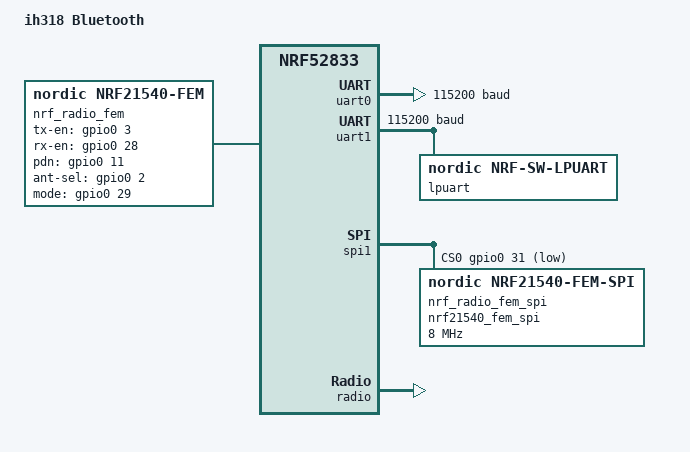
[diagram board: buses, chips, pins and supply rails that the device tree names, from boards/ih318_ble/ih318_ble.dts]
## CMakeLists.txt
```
#
# Copyright (c) 2018 Nordic Semiconductor
#
# SPDX-License-Identifier: LicenseRef-Nordic-5-Clause
#
cmake_minimum_required(VERSION 3.20.0)

find_package(Zephyr REQUIRED HINTS $ENV{ZEPHYR_BASE})
project(ih318_nrf52833)

# NORDIC SDK APP START
target_sources(app PRIVATE
  src/main.c
  src/shell_custom.c
)
target_include_directories(app PRIVATE include)
# NORDIC SDK APP END
```

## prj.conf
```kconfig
#
# Copyright (c) 2018 Nordic Semiconductor
#
# SPDX-License-Identifier: LicenseRef-Nordic-5-Clause
#
CONFIG_NCS_SAMPLES_DEFAULTS=y
CONFIG_HEAP_MEM_POOL_SIZE=2048

CONFIG_BT=y
CONFIG_BT_SMP=y
CONFIG_BT_PERIPHERAL=y
CONFIG_BT_DEVICE_NAME="ihlu ih318"

# CONFIG_BT_DEVICE_APPEARANCE=833
CONFIG_BT_MAX_CONN=2
CONFIG_BT_MAX_PAIRED=2

# Enable the BT NUS shell
CONFIG_SHELL_BT_NUS=y
CONFIG_SHELL=y
CONFIG_SHELL_BACKEND_DUMMY=y


# Serial and console configuration
CONFIG_SERIAL=y
CONFIG_CONSOLE=y
CONFIG_UART_CONSOLE=y

# SEGGER RTT Treiber und RTT-Konsole aktivieren
# CONFIG_USE_SEGGER_RTT=y
# CONFIG_RTT_CONSOLE=y

# Optional: Zephyr Logger-System ebenfalls auf RTT umleiten
# CONFIG_LOG=y
# CONFIG_LOG_BACKEND_RTT=y
CONFIG_MPSL=y
CONFIG_MPSL_FEM=y
CONFIG_MPSL_FEM_NRF21540_GPIO_SPI=y
CONFIG_MPSL_FEM_POWER_MODEL=y
CONFIG_POWEROFF=y

# UART interrupt driver
CONFIG_NRF_SW_LPUART=y

# Uncomment to use lpuart using interrupt driven API
CONFIG_NRF_SW_LPUART_INT_DRIVEN=y

CONFIG_UART_1_ASYNC=y
CONFIG_UART_1_INTERRUPT_DRIVEN=n
CONFIG_UART_1_NRF_HW_ASYNC=y
CONFIG_UART_1_NRF_HW_ASYNC_TIMER=2
CONFIG_UART_1_NRF_ASYNC_LOW_POWER=y

CONFIG_NRF_SW_LPUART_INIT_PRIORITY=55

# Maximum Bluetooth LE ATT MTU
CONFIG_BT_L2CAP_TX_MTU=517
CONFIG_BT_BUF_ACL_TX_SIZE=251
CONFIG_BT_BUF_ACL_RX_SIZE=251
CONFIG_BT_USER_DATA_LEN_UPDATE=y

# 1. Nutze den internen RC statt dem externen Quarz
CONFIG_CLOCK_CONTROL_NRF_K32SRC_RC=y

# 2. Zwingend erforderlich: Kalibrierung für den RC-Takt einschalten
CONFIG_CLOCK_CONTROL_NRF_K32SRC_RC_CALIBRATION=y

# 3. Dem BLE-Stack die 500 ppm Genauigkeit des RC-Oszillators mitteilen (vergrößert RX-Fenster für Verbindungen)
CONFIG_CLOCK_CONTROL_NRF_K32SRC_500PPM=y
CONFIG_BT_CTLR_SDC_MAX_CONN_EVENT_LEN_DEFAULT=0

# Apple iOS konforme Connection Parameter
# CONFIG_BT_GAP_PERIPHERAL_PREF_PARAMS=y
# CONFIG_BT_GAP_AUTO_UPDATE_CONN_PARAMS=y

# Min Interval: 15 ms (12 * 1.25ms) - Apple verlangt min >= 15ms
# CONFIG_BT_PERIPHERAL_PREF_MIN_INT=12
# Max Interval: 30 ms (24 * 1.25ms) - Apple verlangt max >= min + 15ms
# CONFIG_BT_PERIPHERAL_PREF_MAX_INT=24
# CONFIG_BT_PERIPHERAL_PREF_LATENCY=0
# Timeout: 400 * 10ms = 4000ms (Apple verlangt <= 6s und >= (1+latency)*max_int*3)
# CONFIG_BT_PERIPHERAL_PREF_TIMEOUT=400

# 1. Enable Bonding and Security Manager Protocol (SMP)
#CONFIG_BT_SETTINGS=y
#CONFIG_BT_BONDABLE=y
#CONFIG_BT_SMP=y

# 2. MANDATORY for Android 13: Enable Flash Storage for Bonds
# Without these, keys aren't saved to NVS flash, causing immediate reconnection failure.
#CONFIG_FLASH=y
#CONFIG_FLASH_PAGE_LAYOUT=y
#CONFIG_FLASH_MAP=y
#CONFIG_NVS=y
#CONFIG_SETTINGS=y

# 3. Android 13 MTU & Data Length Extensions (DLE) Optimization
# Prevents timeout drops during the heavy key-exchange phase.
#CONFIG_BT_L2CAP_DYNAMIC_CHANNEL=y
#CONFIG_BT_BUF_ACL_RX_SIZE=251
#CONFIG_BT_BUF_ACL_TX_SIZE=251

# Erlaubt der App, Passkeys per Callback bereitzustellen (Ersetzt FIXED_PASSKEY)
#CONFIG_BT_APP_PASSKEY=y
```

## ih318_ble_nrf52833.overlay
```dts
/*
 * Alle Node- und Pinctrl-Definitionen wurden direkt in das Board übernommen:
 * - boards/ih318_ble/ih318_ble.dts
 * - boards/ih318_ble/ih318_ble-pinctrl.dtsi
 */

&uart1 {
	compatible = "nordic,nrf-uarte";
	status = "okay";
	current-speed = <115200>;
	pinctrl-0 = <&uart1_default>;
	pinctrl-1 = <&uart1_sleep>;
	pinctrl-names = "default", "sleep";

	lpuart: nrf-sw-lpuart {
		compatible = "nordic,nrf-sw-lpuart";
		status = "okay";
		req-pin = <20>;
		rdy-pin = <15>;
		wakeup-source;
	};
};


&spi1 {
	status = "okay";
	pinctrl-0 = <&spi1_default>;
	pinctrl-1 = <&spi1_sleep>;
	pinctrl-names = "default", "sleep";
	cs-gpios = <&gpio0 31 GPIO_ACTIVE_LOW>;

	nrf_radio_fem_spi: nrf21540_fem_spi@0 {
		compatible = "nordic,nrf21540-fem-spi";
		reg = <0>;
		status = "okay";
		spi-max-frequency = <8000000>;
	};
};

&radio {
	fem = <&nrf_radio_fem>;
};
```

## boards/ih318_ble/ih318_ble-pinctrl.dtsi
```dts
/*
 * Copyright (c) 2024 Ihlu
 *
 * SPDX-License-Identifier: Apache-2.0
 */

&pinctrl {

	uart0_default: uart0_default {
		group1 {
			psels = <NRF_PSEL(UART_TX, 0, 5)>;
		};
		group2 {
			psels = <NRF_PSEL(UART_RX, 0, 4)>;
			bias-pull-up;
		};
	};

	uart0_sleep: uart0_sleep {
		group1 {
			psels = <NRF_PSEL(UART_TX, 0, 5)>,
				<NRF_PSEL(UART_RX, 0, 4)>;
			low-power-enable;
		};
	};

	uart0_default_dk: uart0_default_dk {
			group1 {
				psels = <6 /* NRF_PSEL(UART_TX, 0, 6) = 0x6 */>,
					<33554437 /* NRF_PSEL(UART_RTS, 0, 5) = 0x2000005 */>;	/* c:\ncs\v3.2.2\zephyr\boards\nordic\nrf52833dk\nrf52833dk_nrf52833-pinctrl.dtsi */
				nordic,drive-mode = <0 /* 0x0 */>; /* default value from binding */	/* c:\ncs\v3.2.2\zephyr\boards\nordic\nrf52833dk\nrf52833dk_nrf52833-pinctrl.dtsi?loc=7:2-10:4#virtual */
			};

			group2 {
				psels = <16777224 /* NRF_PSEL(UART_RX, 0, 8) = 0x1000008 */>,
					<50331655 /* NRF_PSEL(UART_CTS, 0, 7) = 0x3000007 */>;	/* c:\ncs\v3.2.2\zephyr\boards\nordic\nrf52833dk\nrf52833dk_nrf52833-pinctrl.dtsi */
				bias-pull-up;	/* c:\ncs\v3.2.2\zephyr\boards\nordic\nrf52833dk\nrf52833dk_nrf52833-pinctrl.dtsi */
				nordic,drive-mode = <0 /* 0x0 */>; /* default value from binding */	/* c:\ncs\v3.2.2\zephyr\boards\nordic\nrf52833dk\nrf52833dk_nrf52833-pinctrl.dtsi?loc=12:2-16:4#virtual */
			};
		};

		uart0_sleep_dk: uart0_sleep_dk {
			group1 {
				psels = <6 /* NRF_PSEL(UART_TX, 0, 6) = 0x6 */>,
					<16777224 /* NRF_PSEL(UART_RX, 0, 8) = 0x1000008 */>,
					<33554437 /* NRF_PSEL(UART_RTS, 0, 5) = 0x2000005 */>,
					<50331655 /* NRF_PSEL(UART_CTS, 0, 7) = 0x3000007 */>;	/* c:\ncs\v3.2.2\zephyr\boards\nordic\nrf52833dk\nrf52833dk_nrf52833-pinctrl.dtsi */
				low-power-enable;	/* c:\ncs\v3.2.2\zephyr\boards\nordic\nrf52833dk\nrf52833dk_nrf52833-pinctrl.dtsi */
				nordic,drive-mode = <0 /* 0x0 */>; /* default value from binding */	/* c:\ncs\v3.2.2\zephyr\boards\nordic\nrf52833dk\nrf52833dk_nrf52833-pinctrl.dtsi?loc=20:2-26:4#virtual */
			};
		};

	uart1_default: uart1_default {
		group1 {
			psels = <NRF_PSEL(UART_TX, 0, 18)>;
		};
		group2 {
			psels = <NRF_PSEL(UART_RX, 0, 17)>;
			bias-pull-up;
		};
	};

	uart1_sleep: uart1_sleep {
		group1 {
			psels = <NRF_PSEL(UART_RX, 0, 17)>,
				<NRF_PSEL(UART_TX, 0, 18)>;
			low-power-enable;
		};
	};

	spi1_default: spi1_default {
		group1 {
			psels = <NRF_PSEL(SPIM_SCK, 1, 9)>,
				<NRF_PSEL(SPIM_MOSI, 0, 1)>,
				<NRF_PSEL(SPIM_MISO, 0, 0)>;
		};
	};

	spi1_sleep: spi1_sleep {
		group1 {
			psels = <NRF_PSEL(SPIM_SCK, 1, 9)>,
				<NRF_PSEL(SPIM_MOSI, 0, 1)>,
				<NRF_PSEL(SPIM_MISO, 0, 0)>;
			low-power-enable;
		};
	};
};
```

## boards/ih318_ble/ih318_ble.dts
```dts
/dts-v1/;
#include <nordic/nrf52833_qdaa.dtsi>
#include "ih318_ble-pinctrl.dtsi"

/ {
	model = "ih318 Bluetooth";
	compatible = "Ihlu,ih318-ble";

	chosen {
		zephyr,sram = &sram0;
		zephyr,flash = &flash0;
		zephyr,code-partition = &slot0_partition;
		zephyr,console = &uart0;
		zephyr,shell-uart = &uart0;
		zephyr,uart = &uart0;
		zephyr,lpuart = &lpuart;
	};

	aliases {
		uart1 = &uart1;
		watchdog0 = &wdt0;
	};

	nrf_radio_fem: nrf21540 {
		compatible = "nordic,nrf21540-fem";
		tx-en-gpios = <&gpio0 3 GPIO_ACTIVE_HIGH>;
		rx-en-gpios = <&gpio0 28 GPIO_ACTIVE_HIGH>;
		pdn-gpios = <&gpio0 11 GPIO_ACTIVE_HIGH>;
		ant-sel-gpios = <&gpio0 2 GPIO_ACTIVE_HIGH>;
		mode-gpios = <&gpio0 29 GPIO_ACTIVE_HIGH>;
		supply-voltage-mv = <1800>;
		tx-en-settle-time-us = <11>;
		rx-en-settle-time-us = <11>;
		pdn-settle-time-us = <18>;
		trx-hold-time-us = <3>;
		spi-if = <&nrf_radio_fem_spi>;
		zephyr,pm-device-runtime-auto;
	};
};

&gpiote {
	status = "okay";
	interrupts = <6 1>;
};

&gpio0 {
	status = "okay";
};

&gpio1 {
	status = "okay";
};

&uart0 {
	compatible = "nordic,nrf-uarte";
	status = "okay";
	current-speed = <115200>;
	pinctrl-0 = <&uart0_default>;
	pinctrl-1 = <&uart0_sleep>;
	// pinctrl-0 = <&uart0_default_dk>;
	// pinctrl-1 = <&uart0_sleep_dk>;
	pinctrl-names = "default", "sleep";
};

&uart1 {
	compatible = "nordic,nrf-uarte";
	status = "okay";
	current-speed = <115200>;
	pinctrl-0 = <&uart1_default>;
	pinctrl-1 = <&uart1_sleep>;
	pinctrl-names = "default", "sleep";

	lpuart: nrf-sw-lpuart {
		compatible = "nordic,nrf-sw-lpuart";
		status = "okay";
		req-pin = <20>;
		rdy-pin = <15>;
		wakeup-source;
	};
};

&spi1 {
	status = "okay";
	pinctrl-0 = <&spi1_default>;
	pinctrl-1 = <&spi1_sleep>;
	pinctrl-names = "default", "sleep";
	cs-gpios = <&gpio0 31 GPIO_ACTIVE_LOW>;

	nrf_radio_fem_spi: nrf21540_fem_spi@0 {
		compatible = "nordic,nrf21540-fem-spi";
		reg = <0>;
		status = "okay";
		spi-max-frequency = <8000000>;
	};
};

&radio {
	fem = <&nrf_radio_fem>;
};

&flash0 {
	partitions {
		compatible = "fixed-partitions";
		#address-cells = <1>;
		#size-cells = <1>;

		boot_partition: partition@0 {
			label = "mcuboot";
			reg = <0x00000000 DT_SIZE_K(48)>;
		};

		slot0_partition: partition@c000 {
			label = "image-0";
			reg = <0x0000c000 DT_SIZE_K(220)>;
		};

		slot1_partition: partition@43000 {
			label = "image-1";
			reg = <0x00043000 DT_SIZE_K(220)>;
		};

		storage_partition: partition@7a000 {
			label = "storage";
			reg = <0x0007a000 DT_SIZE_K(24)>;
		};
	};
};
```

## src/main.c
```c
/*
 * Copyright (c) 2019 Nordic Semiconductor ASA
 *
 * SPDX-License-Identifier: LicenseRef-Nordic-5-Clause
 */

/** @file
 *  @brief Nordic UART Bridge Service (NUS) sample
 */

#include <zephyr/kernel.h>
#include <errno.h>
#include <zephyr/bluetooth/bluetooth.h>
#include <zephyr/bluetooth/uuid.h>
#include <zephyr/bluetooth/gatt.h>
#include <zephyr/bluetooth/hci.h>
#include <zephyr/shell/shell.h>
#include <bluetooth/services/nus.h>
#include <zephyr/logging/log.h>
#include <hal/nrf_ficr.h> // Header für den Zugriff auf die nRF-Hardware-Register
#include "main.h"

// #include <shell/shell_bt_nus.h>
#include <stdio.h>
#include <inttypes.h>

#include "shell_custom.h"
#include <zephyr/drivers/uart.h>

LOG_MODULE_REGISTER(app);

#define DEVICE_NAME             CONFIG_BT_DEVICE_NAME
#define DEVICE_NAME_LEN	        (sizeof(DEVICE_NAME) - 1)



/* Bit definitions of hardware features */
#define HW_PulseCapacitor                    0x00000001      /* If device has C300 */
#define HW_Bluetooth                         0x00000002      /* If device has bluetooth interface */
#define HW_BME280                            0x00000004      /* If device has Bosch BME280 sensor */
#define HW_ExternalFlash                     0x00000008      /* If device has external flash */
#define HW_eSim                              0x00000010      /* If device has embedded SIM card */
#define DEVICE_TypeIH318 0x00010000      /* ih318 HW board revision 1 */
#define DEVICE_HardwareFeatures HW_BME280 | HW_ExternalFlash
#define HW_Version_1 0x00000100      /* Version 1 */
#define DEVICE_DESCRIPTOR DEVICE_TypeIH318 | DEVICE_HardwareFeatures | HW_Version_1


adv_mfg_data_type adv_mfg_data = { COMPANY_ID_CODE, DEVICE_DESCRIPTOR, {0xA0, 0xA1, 0xA2, 0xA3, 0xA4, 0xA5, 0xA6, 0xA7, 0xA8, 0xA9, 0xAA, 0xAB, 0xAC, 0xAD, 0xAE, 0xAF} };
	
/** @brief LPUART device instance */
const struct device *lpuart = DEVICE_DT_GET(DT_NODELABEL(lpuart)); 

static struct bt_conn *current_conn;
static struct k_work adv_work;
static struct k_work_delayable nus_send_work;
static bt_addr_le_t nus_peer_addr;

uint8_t uuidBytes[16];
uint16_t adcBytes[2];
uint8_t powerSource;	

static const struct bt_data ad[] = {
	BT_DATA_BYTES(BT_DATA_FLAGS, (BT_LE_AD_GENERAL | BT_LE_AD_NO_BREDR)),
	BT_DATA(BT_DATA_MANUFACTURER_DATA, (unsigned char *)&adv_mfg_data, sizeof(adv_mfg_data)),
};

static const struct bt_data sd[] = {
	BT_DATA(BT_DATA_NAME_COMPLETE, DEVICE_NAME, DEVICE_NAME_LEN),
	BT_DATA_BYTES(BT_DATA_UUID128_ALL, BT_UUID_NUS_VAL),
};

/* Command shell registration */
static int cmd_version(const struct shell *sh, size_t argc, char **argv)
{
        ARG_UNUSED(argc);
        ARG_UNUSED(argv);

		bt_nus_send(NULL, "+version BLE 1.8.3\r\n", strlen("+version BLE 1.8.3\r\n"));

        return 0;
}
SHELL_CMD_REGISTER(version, NULL, "Show kernel version", cmd_version);

static int cmd_uuid(const struct shell *sh, size_t argc, char **argv)
{
	ARG_UNUSED(argc);
	ARG_UNUSED(argv);
	char uuid_string[46];

	snprintk(uuid_string, sizeof(uuid_string),
		 "+uuid: %02x%02x%02x%02x-%02x%02x-%02x%02x-%02x%02x-%02x%02x%02x%02x%02x%02x\r\n",
		 uuidBytes[0], uuidBytes[1], uuidBytes[2], uuidBytes[3],
		 uuidBytes[4], uuidBytes[5], uuidBytes[6], uuidBytes[7],
		 uuidBytes[8], uuidBytes[9], uuidBytes[10], uuidBytes[11],
		 uuidBytes[12], uuidBytes[13], uuidBytes[14], uuidBytes[15]);
	bt_nus_send(NULL, uuid_string, strlen(uuid_string));

	return 0;
}
SHELL_CMD_REGISTER(uuid, NULL, "Show device UUID", cmd_uuid);

/* 1. Funktion zur Berechnung des Passkeys aus der Device ID */
uint32_t generate_passkey_from_device_id(void) {
    
	uint32_t calculated_passkey = 0;
	
	// Die nRF52 Device ID ist aufgeteilt in zwei 32-Bit Register
    uint32_t dev_id_0 = nrf_ficr_deviceid_get(NRF_FICR, 0);
    uint32_t dev_id_1 = nrf_ficr_deviceid_get(NRF_FICR, 1);

    // Verknüpfung der beiden IDs (z.B. per XOR)
    uint32_t combined_id = dev_id_0 ^ dev_id_1;

    // Ein BLE-Passkey MUSS exakt zwischen 000000 und 999999 liegen.
    // Modulo 1.000.000 erzwingt genau diesen 6-stelligen Bereich.
    calculated_passkey = combined_id % 1000000;

    printk("Generierter Hardware-Passkey: %06u\n", calculated_passkey);

	return (calculated_passkey);
}

static void adv_work_handler(struct k_work *work)
{
	int err = bt_le_adv_start(BT_LE_ADV_CONN_FAST_2, ad, ARRAY_SIZE(ad), sd, ARRAY_SIZE(sd));

	if (err) {
		printk("Advertising failed to start (err %d)\n", err);
		return;
	}

	printk("Advertising successfully started\n");
}

static void advertising_start(void)
{
	k_work_submit(&adv_work);
}

static void nus_send_work_handler(struct k_work *work)
{
	static const char message[] = "SEED\r\n";
	struct bt_conn *conn = bt_conn_lookup_addr_le(BT_ID_DEFAULT, &nus_peer_addr);
	int err;

	if (!conn) {
		return;
	}

	err = bt_nus_send(conn, message, sizeof(message) - 1);
	bt_conn_unref(conn);

	if (err == -EINVAL) {
		k_work_reschedule(&nus_send_work, K_MSEC(250));
	} else if (err) {
		LOG_ERR("NUS send failed (err %d)", err);
	}
}

static void connected(struct bt_conn *conn, uint8_t err)
{
	if (err) {
		LOG_ERR("Connection failed, err 0x%02x %s", err, bt_hci_err_to_str(err));
		return;
	}

	LOG_INF("Connected");
	current_conn = bt_conn_ref(conn);
	bt_addr_le_copy(&nus_peer_addr, bt_conn_get_dst(conn));

	set_bt_enabled ();
	k_work_reschedule(&nus_send_work, K_SECONDS(1));

	/*
	int security_err = bt_conn_set_security(conn, BT_SECURITY_L2);
	if (security_err) {
    	LOG_ERR("Security request failed: %d", security_err);
	}
    */
	// shell_bt_nus_enable(conn);
	// bt_nus_send(conn, "SEED", strlen("SEED"));
	
}

static void disconnected(struct bt_conn *conn, uint8_t reason)
{
	LOG_INF("Disconnected, reason 0x%02x %s", reason, bt_hci_err_to_str(reason));
	k_work_cancel_delayable(&nus_send_work);

	// shell_bt_nus_disable();
	if (current_conn) {
		bt_conn_unref(current_conn);
		current_conn = NULL;
	}
}

static void recycled_cb(void)
{
	printk("Connection object available from previous conn. Disconnect is complete!\n");
	advertising_start();
}

static char *log_addr(struct bt_conn *conn)
{
	static char addr[BT_ADDR_LE_STR_LEN];

	bt_addr_le_to_str(bt_conn_get_dst(conn), addr, sizeof(addr));

	return addr;
}

static void __attribute__((unused)) security_changed(struct bt_conn *conn,
						     bt_security_t level,
						     enum bt_security_err err)
{
	char *addr = log_addr(conn);

	if (!err) {
		LOG_INF("Security changed: %s level %u", addr, level);
	} else {
		LOG_INF("Security failed: %s level %u err %d %s", addr, level, err,
			bt_security_err_to_str(err));
	}
}

BT_CONN_CB_DEFINE(conn_callbacks) = {
	.connected    = connected,
	.disconnected = disconnected,
	.recycled     = recycled_cb,
	COND_CODE_1(CONFIG_BT_SMP,
		(.security_changed = security_changed), ())
};

static void auth_passkey_display(struct bt_conn *conn, unsigned int passkey)
{
	LOG_INF("Passkey for %s: %06u", log_addr(conn), passkey);
}

static void auth_cancel(struct bt_conn *conn)
{
	LOG_INF("Pairing cancelled: %s", log_addr(conn));
}

static void pairing_complete(struct bt_conn *conn, bool bonded)
{
	LOG_INF("Pairing completed: %s, bonded: %d", log_addr(conn), bonded);
}

static void pairing_failed(struct bt_conn *conn, enum bt_security_err reason)
{
	LOG_INF("Pairing failed conn: %s, reason %d %s", log_addr(conn), reason,
		bt_security_err_to_str(reason));
}

/* Define fixed passkey for authentication, Later from uuid */
#define FIXED_PASSKEY 123456U

static uint32_t auth_passkey(struct bt_conn *conn)
{
	ARG_UNUSED(conn);
	return FIXED_PASSKEY;
    // return generate_passkey_from_device_id();
}

static struct bt_conn_auth_cb conn_auth_callbacks = {
	.passkey_display = auth_passkey_display,
	// .app_passkey = auth_passkey,
	.cancel = auth_cancel,
};

static struct bt_conn_auth_info_cb conn_auth_info_callbacks = {
	.pairing_complete = pairing_complete,
	.pairing_failed = pairing_failed
};

static int setup_lpuart(const struct device *dev)
{
	int err;

	if (!device_is_ready(dev)) {
		LOG_ERR("LPUART device %s is not ready", dev->name);
		return -ENODEV;
	}

	err = uart_irq_callback_user_data_set(dev, lpuart_irq_handler, NULL);
	if (err) {
		LOG_ERR("Failed to register LPUART IRQ callback (err: %d)", err);
		return err;
	}

	uart_irq_rx_enable(dev);
	LOG_INF("LPUART IRQ callback registered on %s", dev->name);
	return 0;
}

 
int main(void)
{
	int err;
	char modem_response[64];
	

	/* Wait for 2 seconds before talking to the LTE modem */
	k_sleep(K_MSEC(2000));

	printk("Starting Bluetooth NUS shell transport sample\n");

	/* Initialize Bluetooth enabled flag */
	set_bt_disabled ();

	/* Setup LPUART for communication with LTE */
	err = setup_lpuart(lpuart);
	if (err) {
		return err;
	}
	
	/* Read the UUID from LTE before advertising. */
	err = nrf_modem_uart_msg(modem_response, sizeof(modem_response), "uuid");
	if (err < 0) {
		LOG_ERR("Failed to read UUID from LTE (err: %d)", err);
	} else if ((strncmp(modem_response, "+uuid: ", 7) != 0) ||
		   (uuid_str_to_bytes(modem_response + 7, uuidBytes) != 0)) {
		LOG_ERR("Invalid UUID response from LTE");
	} else {
		memcpy(adv_mfg_data.uuid_bytes, uuidBytes, sizeof(uuidBytes));
	}

	if (IS_ENABLED(CONFIG_BT_SMP)) {
		err = bt_conn_auth_cb_register(&conn_auth_callbacks);
		if (err) {
			printk("Failed to register authorization callbacks.\n");
			return 0;
		}

		err = bt_conn_auth_info_cb_register(&conn_auth_info_callbacks);
		if (err) {
			printk("Failed to register authorization info callbacks.\n");
			return 0;
		}
	}

	/* Must be initialized before enabling Bluetooth */
	err = cust_bt_nus_init(); 
	if (err) {
		LOG_ERR("Failed to initialize BT NUS shell (err: %d)", err);
		return 0;
	}

	/* Enable Bluetooth */
	err = bt_enable(NULL);
	if (err) {
		LOG_ERR("BLE enable failed (err: %d)", err);
		return 0;
	}

	/*
	err = bt_unpair(BT_ID_DEFAULT, BT_ADDR_LE_ANY);
	if (err) {
		LOG_ERR("Failed to clear Bluetooth pairing information (err: %d)", err);
	} else {
		LOG_INF("Bluetooth pairing information cleared");
	}
	*/
	
	k_work_init(&adv_work, adv_work_handler);
	k_work_init_delayable(&nus_send_work, nus_send_work_handler);
	advertising_start();

	/* TEST 
	while (1)
	{
		// send_alive_message();
		// k_sleep(K_MSEC(3000));
		// bt_nus_send(NULL, "SEED\r\n", strlen("SEED\r\n"));
		// k_sleep(K_SECONDS(3));
	}
	*/
	k_sleep(K_FOREVER);
	return 0;
}
```

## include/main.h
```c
/** @brief Manufacturer specific advertising data structure */
// #define Manufacturer specific data
#define COMPANY_ID_CODE 0x0971
#define UUID_LENGTH 16


typedef struct adv_mfg_data {
	uint16_t companyId;
	uint32_t deviceDescriptor;
	uint8_t uuid_bytes[UUID_LENGTH]; /* Number of times Button 1 is pressed */
} adv_mfg_data_type;
```

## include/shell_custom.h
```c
#ifndef SHELL_CUST_BT_NUS_H_
#define SHELL_CUST_BT_NUS_H_

#include <zephyr/shell/shell.h>
#include <zephyr/bluetooth/conn.h>
#include <bluetooth/services/nus.h>
#include <zephyr/sys/ring_buffer.h>

/***************** Custom Bluetooth NUS Shell Transport *****************
 * This header defines the interface for a custom Bluetooth NUS shell transport.
 * It includes necessary Zephyr headers and declares the initialization function
 * and UART interrupt handler for the custom transport.
 ***********************************************************************/


void read_uuid (void);
int nrf_modem_uart_msg (void *buf, size_t len, const char *fmt, ...);
int uuid_str_to_bytes(const char *uuid_str, uint8_t *uuid_bytes);
void set_bt_enabled (void);
void set_bt_disabled (void);
int cust_bt_nus_init(void);
void lpuart_irq_handler(const struct device *dev, void *context);
void send_alive_message(void);
#endif /* SHELL_CUST_BT_NUS_H_ */
```

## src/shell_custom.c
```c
/*
 * Copyright (c) 2019 Nordic Semiconductor ASA
 *
 * SPDX-License-Identifier: LicenseRef-Nordic-5-Clause
 */
#include <shell_custom.h>
#include <stdarg.h>
#include <stdio.h>
#include <zephyr/bluetooth/att.h>
#include <zephyr/drivers/uart.h>
#include <zephyr/logging/log.h>
#include <zephyr/sys/util.h>
#include "main.h"

LOG_MODULE_REGISTER(shell_custom);

#define UUID_STRING_LENGTH 36
extern uint8_t uuidBytes[16];
extern adv_mfg_data_type adv_mfg_data;


#define QUEUE_SIZE 128
struct data_item_type {
    uint32_t length;
	uint8_t data[QUEUE_SIZE];
} quePutData;

K_MSGQ_DEFINE (uart_queue, sizeof(struct data_item_type), 4, 4);

struct uart_rx_item {
	uint32_t length;
	uint8_t data[CONFIG_NRF_SW_LPUART_MAX_PACKET_SIZE + 1];
};

K_MSGQ_DEFINE(uart_rx_queue, sizeof(struct uart_rx_item), 4, 4);

extern const struct device *lpuart;
static bool bt_is_enabled = false;

#define MODEM_UART_RSP_TIMEOUT K_MSEC(2000)

K_SEM_DEFINE(modem_rsp_sem, 0, 1);
K_MUTEX_DEFINE(modem_rsp_mutex);

static struct {
	volatile bool pending;
	uint8_t *buf;
	size_t size;
	int len;
} modem_rsp;

int uuid_str_to_bytes(const char *uuid_str, uint8_t *uuid_bytes) {
    // sscanf parst den String anhand des UUID-Formats und ignoriert die Bindestriche.
    // %2hhx liest exakt 2 Hex-Zeichen und speichert sie als ein Byte (uint8_t).
    int parsed = sscanf(uuid_str,
        "%2hhx%2hhx%2hhx%2hhx-%2hhx%2hhx-%2hhx%2hhx-%2hhx%2hhx-%2hhx%2hhx%2hhx%2hhx%2hhx%2hhx",
        &uuid_bytes[0],  &uuid_bytes[1],  &uuid_bytes[2],  &uuid_bytes[3],
        &uuid_bytes[4],  &uuid_bytes[5],
        &uuid_bytes[6],  &uuid_bytes[7],
        &uuid_bytes[8],  &uuid_bytes[9],
        &uuid_bytes[10], &uuid_bytes[11], &uuid_bytes[12], &uuid_bytes[13], &uuid_bytes[14], &uuid_bytes[15]
    );

    // Wenn erfolgreich geladen, wurden alle 16 Bytes geparst.
    return (parsed == 16) ? 0 : -1;
}

void read_uuid (void)
{
	memcpy (quePutData.data, "uuid", 4);
	quePutData.length = 4;
	k_msgq_put (&uart_queue, &quePutData, K_NO_WAIT);
	uart_irq_tx_enable(lpuart);
}

/*
 * Formats fmt/... into buf, sends buf over lpuart and blocks until the
 * nrf91 answers. The answer is written back into buf (null-terminated).
 * Returns the response length or a negative error code.
 * Must not be called from the system workqueue (lpuart_rx_work_handler).
 */
int nrf_modem_uart_msg (void *buf, size_t len, const char *fmt, ...)
{
	va_list args;
	int tx_len;
	int ret;

	if ((NULL == buf) || (0 == len) || (NULL == fmt)) {
		return -EINVAL;
	}

	va_start(args, fmt);
	tx_len = vsnprintf(buf, len, fmt, args);
	va_end(args);

	if (tx_len < 0) {
		return tx_len;
	}
	if (((size_t)tx_len >= len) || (tx_len > sizeof(quePutData.data))) {
		return -ENOMEM;
	}

	k_mutex_lock(&modem_rsp_mutex, K_FOREVER);

	k_sem_reset(&modem_rsp_sem);
	modem_rsp.buf = buf;
	modem_rsp.size = len;
	modem_rsp.len = 0;
	modem_rsp.pending = true;

	memcpy (quePutData.data, buf, tx_len);
	quePutData.length = tx_len;
	if (0 != k_msgq_put (&uart_queue, &quePutData, K_NO_WAIT)) {
		modem_rsp.pending = false;
		k_mutex_unlock(&modem_rsp_mutex);
		return -ENOBUFS;
	}
	uart_irq_tx_enable(lpuart);

	if (0 == k_sem_take(&modem_rsp_sem, MODEM_UART_RSP_TIMEOUT)) {
		ret = modem_rsp.len;
	} else {
		modem_rsp.pending = false;
		ret = -ETIMEDOUT;
	}

	k_mutex_unlock(&modem_rsp_mutex);

	return ret;
}

void set_bt_enabled (void)
{
	bt_is_enabled = true;
}

void set_bt_disabled (void)
{
	bt_is_enabled = false;
}

static void bt_nus_rx_callback(struct bt_conn *conn, const uint8_t *const data, uint16_t len)
{
	*((char *)data + len) = '\0';

	if (0 == strncmp ("lte ", data, 4))
	{
		/* Handling LTE command */
		/* This is a nrf91 command. Write to FIFO and send over lpuart */ 
		memcpy (quePutData.data, data + 4,  len - 4);
		quePutData.length = len - 4;
		k_msgq_put (&uart_queue, &quePutData, K_NO_WAIT);
		uart_irq_tx_enable(lpuart);
	}
	else
	{
		if (0 == strncmp ("ble ", data, 4))
		{
			/* This a nrf52 command. Execute as shell */
			// pipe = pipe_ble;
			shell_execute_cmd(NULL, data + 4);
		}
	}
}


static void bt_nus_tx_callback(struct bt_conn *conn)
{
	
}

static void send_enabled_callback(enum bt_nus_send_status status)
{
	
}

int cust_bt_nus_init(void)
{
	struct bt_nus_cb callbacks = {
		.received = bt_nus_rx_callback,
		.sent = bt_nus_tx_callback,
		.send_enabled = send_enabled_callback
	};

	return bt_nus_init(&callbacks);
}

static void process_lpuart_rx(const struct uart_rx_item *item)
{
	if (0 == strncmp ("ble ", item->data, 4))
	{
		/* Shell command for BLE */
		shell_execute_cmd (NULL, (item->data + 4));
	}
	else
	{
		if (true == modem_rsp.pending)
		{
			/* Response for nrf_modem_uart_msg(): hand over to waiting thread */
			size_t cpy = MIN((size_t)item->length, modem_rsp.size - 1);
			memcpy (modem_rsp.buf, item->data, cpy);
			modem_rsp.buf[cpy] = '\0';
			modem_rsp.len = cpy;
			modem_rsp.pending = false;
			k_sem_give(&modem_rsp_sem);
			return;
		}

		if (true == bt_is_enabled)
		{
			/* Message for BLE central */
			bt_nus_send (NULL, item->data, item->length);
		}
		else
		{
			/* Message for LTE or other non-BLE commands */
			if (0 == strncmp ("+uuid: ", item->data, 7))
			{
				uuid_str_to_bytes(item->data + 7, uuidBytes);
				/* Copy the UUID bytes to the advertising manufacturer data */
				memcpy (adv_mfg_data.uuid_bytes, uuidBytes, sizeof(uuidBytes));
			}
		}
	}
}

void lpuart_rx_work_handler(struct k_work *work)
{
	struct uart_rx_item item;

	ARG_UNUSED(work);

	while (k_msgq_get(&uart_rx_queue, &item, K_NO_WAIT) == 0) {
		process_lpuart_rx(&item);
	}
}

K_WORK_DEFINE(lpuart_rx_work, lpuart_rx_work_handler);

void lpuart_irq_handler(const struct device *dev, void *context)
{
	ARG_UNUSED(context);

	if (!uart_irq_update(dev)) {
		return;
	}

	/* Tx handler. Sending data over lpuart */
	if (uart_irq_tx_ready(dev)) {
		k_msgq_get (&uart_queue, &quePutData, K_NO_WAIT);
		uart_fifo_fill(dev, quePutData.data, quePutData.length);
		if (0 <	k_msgq_num_used_get (&uart_queue))
		{
			uart_irq_tx_enable(dev);
		}
		else
		{
			uart_irq_tx_disable(dev);		
		}
	}

	/* Rx handler. Receiving data from lpuart */
	while (uart_irq_rx_ready(dev)) {
		struct uart_rx_item item;
		int len = uart_fifo_read(dev, item.data, sizeof(item.data) - 1);

		if (len <= 0) {
			LOG_ERR("Failed to read LPUART RX FIFO (err: %d)", len);
			break;
		}

		item.data[len] = '\0';
		item.length = len;
		if (k_msgq_put(&uart_rx_queue, &item, K_NO_WAIT) != 0) {
			LOG_ERR("LPUART RX queue full; dropped %d bytes", len);
		} else {
			k_work_submit(&lpuart_rx_work);
		}
	}
}

void send_alive_message(void)
{
	sprintf (quePutData.data, "version");
	quePutData.length = strlen(quePutData.data);
	k_msgq_put (&uart_queue, &quePutData, K_NO_WAIT);	
	uart_irq_tx_enable(lpuart);
	
	bt_nus_send(NULL, quePutData.data, quePutData.length);
}
```
